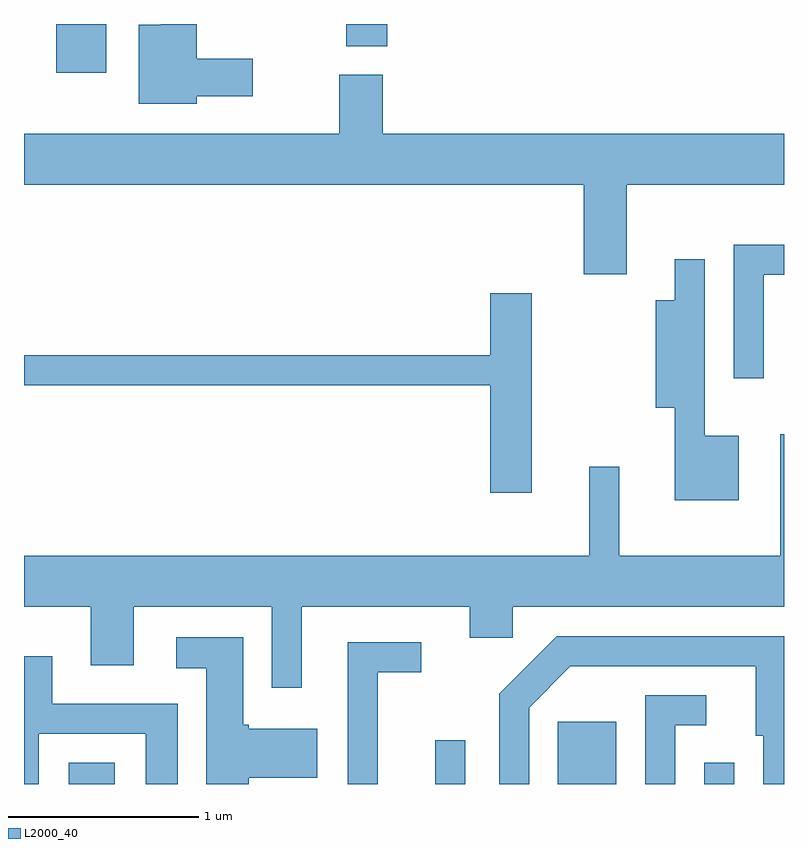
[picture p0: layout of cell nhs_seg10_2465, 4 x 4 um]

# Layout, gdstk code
import gdstk
lib = gdstk.Library(unit=1e-6, precision=1e-09)
def R(c, l, rs):  # rectangles x0, y0, x1, y1
    for r in rs: c.add(gdstk.rectangle(r[:2], r[2:], *l))
def P(c, l, *ps):  # polygons
    for p in ps: c.add(gdstk.Polygon(p, *l))
L2000_40 = (2000, 40)

nhs_seg10_2465 = lib.new_cell('nhs_seg10_2465')
R(nhs_seg10_2465, L2000_40, [(257.846,2128.522,258.089,2128.634), (259.776,2128.522,259.934,2128.753), (260.421,2128.522,260.729,2128.849), (261.191,2128.522,261.349,2128.633), (257.781,2132.266,258.044,2132.522), (259.306,2132.406,259.524,2132.522)])
P(nhs_seg10_2465, L2000_40, [(258.519,2132.141),(258.814,2132.141),(258.814,2132.339),(258.519,2132.339),(258.519,2132.522),(258.331,2132.522),(258.331,2132.519),(258.216,2132.519),(258.216,2132.101),(258.519,2132.101)],
  [(260.784,2131.676),(261.611,2131.676),(261.611,2131.944),(259.499,2131.944),(259.499,2132.254),(259.271,2132.254),(259.271,2131.944),(257.611,2131.944),(257.611,2131.676),(260.556,2131.676),(260.556,2131.206),(260.784,2131.206)],
  [(261.504,2131.201),(261.611,2131.201),(261.611,2131.359),(261.346,2131.359),(261.346,2130.658),(261.504,2130.658)],
  [(261.374,2130.354),(261.194,2130.354),(261.194,2131.283),(261.036,2131.283),(261.036,2131.069),(260.936,2131.069),(260.936,2130.501),(261.036,2130.501),(261.036,2130.016),(261.374,2130.016)],
  [(260.284,2131.104),(260.066,2131.104),(260.066,2130.779),(257.611,2130.779),(257.611,2130.621),(260.066,2130.621),(260.066,2130.056),(260.284,2130.056)],
  [(259.074,2129.456),(259.956,2129.456),(259.956,2129.291),(260.184,2129.291),(260.184,2129.456),(261.611,2129.456),(261.611,2130.363),(261.591,2130.363),(261.591,2129.724),(260.744,2129.724),(260.744,2130.193),(260.586,2130.193),(260.586,2129.724),(257.611,2129.724),(257.611,2129.456),(257.961,2129.456),(257.961,2129.146),(258.189,2129.146),(258.189,2129.456),(258.916,2129.456),(258.916,2129.028),(259.074,2129.028)],
  [(260.269,2128.924),(260.486,2129.141),(261.461,2129.141),(261.461,2128.776),(261.501,2128.776),(261.501,2128.522),(261.611,2128.522),(261.611,2129.299),(260.414,2129.299),(260.111,2128.997),(260.111,2128.522),(260.269,2128.522)],
  [(258.794,2128.556),(259.154,2128.556),(259.154,2128.814),(258.794,2128.814),(258.794,2128.834),(258.764,2128.834),(258.764,2129.294),(258.413,2129.294),(258.413,2129.131),(258.571,2129.131),(258.571,2128.522),(258.794,2128.522)],
  [(259.474,2129.111),(259.703,2129.111),(259.703,2129.269),(259.316,2129.269),(259.316,2128.522),(259.474,2128.522)],
  [(257.689,2128.786),(258.251,2128.786),(258.251,2128.522),(258.419,2128.522),(258.419,2128.944),(257.759,2128.944),(257.759,2129.194),(257.611,2129.194),(257.611,2128.522),(257.689,2128.522)],
  [(261.039,2128.831),(261.203,2128.831),(261.203,2128.989),(260.881,2128.989),(260.881,2128.522),(261.039,2128.522)])

lib.write_gds('nhs_seg10_2465.gds')
